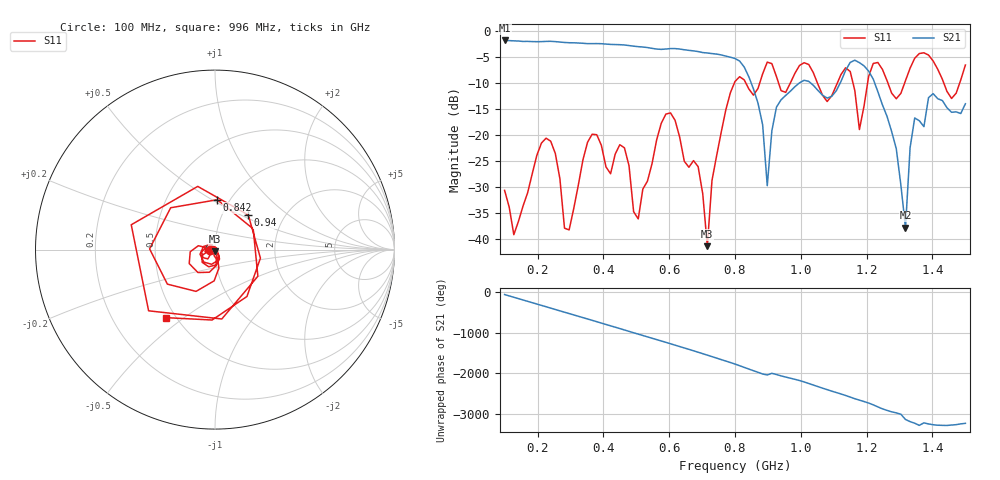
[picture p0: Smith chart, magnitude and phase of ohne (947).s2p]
! NanoVNA-App
! Date: 2025-09-25 14:28:10
! Start: 100MHz Stop: 1,5GHz Points: 101
! S-Parameter data: F S11 S21 S12 S22
# Hz S RI R 50
!  Frequency  S11_Real  S11_Imag  S21_Real  S21_Imag  S12_Real  S12_Imag  S22_Real  S22_Imag
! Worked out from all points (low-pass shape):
!   101 points, 100 MHz to 1.5 GHz, reference 50 ohm
!   highest |S21| = -1.79 dB at 100 MHz (marker M1); lowest = -37.8 dB at 1.318 GHz (marker M2)
!   |S21| within 3 dB of the highest: start of sweep to 771.4 MHz
!   lowest |S11| = -41.4 dB at 716 MHz (marker M3), VSWR 1.02, Z = 49.9 - j0.84 ohm
!   |S11| at or under -10 dB: start of sweep to 798 MHz; 833 MHz to 875.1 MHz (42.07 MHz wide, 4.93 % of centre); 1.051 GHz to 1.111 GHz (60.27 MHz wide, 5.58 % of centre)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
!   S12 and S22 are empty: the file has one direction only
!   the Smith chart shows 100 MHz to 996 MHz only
!   S11 on the Smith chart (normalised r, x): 100 MHz: 0.94, -0.01; 842 MHz: 0.88, +0.53; 940 MHz: 1.32, +0.55; 996 MHz: 0.44, -0.43
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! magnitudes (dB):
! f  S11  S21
! 100 MHz  -30.6  -1.8
! 128 MHz  -39.2  -1.9
! 226 MHz  -20.6  -2.0
! 296 MHz  -38.3  -2.2
! 338 MHz  -24.8  -2.3
! 464 MHz  -22.4  -2.7
! 506 MHz  -36.1  -3.0
! 576 MHz  -17.7  -3.5
! 688 MHz  -26.1  -3.9
! 716 MHz  -41.4  -4.2
! 800 MHz  -9.7  -5.3
! 842 MHz  -11.1  -8.8
! 898 MHz  -6.0  -29.7
! 940 MHz  -11.4  -13.2
! 996 MHz  -6.6  -9.9
! 1.038 GHz  -8.0  -10.4
! 1.178 GHz  -18.9  -6.1
! 1.22 GHz  -6.2  -9.2
! 1.276 GHz  -11.9  -19.3
! 1.318 GHz  -9.5  -37.8
! 1.346 GHz  -5.2  -16.7
! 1.5 GHz  -6.5  -14.0
